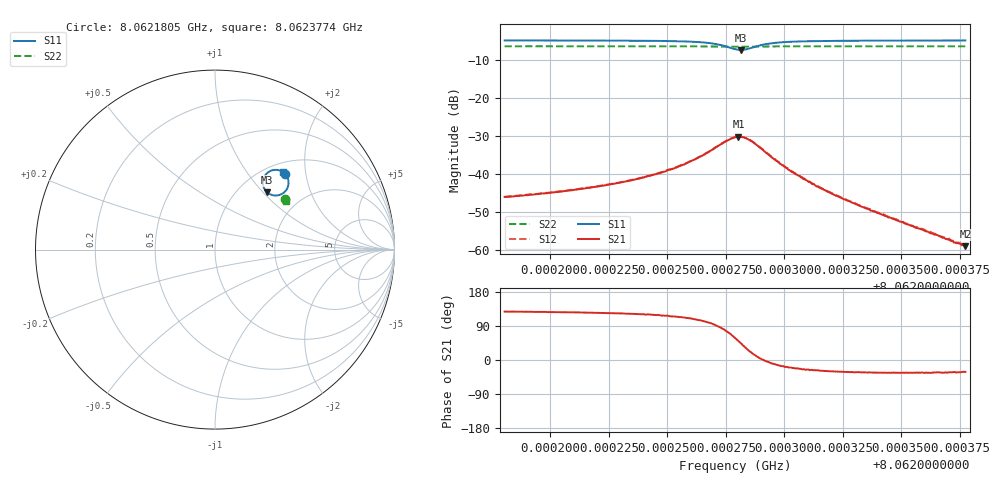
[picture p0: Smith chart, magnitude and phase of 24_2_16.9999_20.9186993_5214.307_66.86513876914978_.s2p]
#  HZ  S  RI  R  50.00
! Rohde & Schwarz Vector Network Analyzer
! Rohde-Schwarz,ZNB20-2Port,1311601062101988,3.16
! Created: UTC 3/20/2024, 10:53:07 PM
! freq[Hz]  re:S11  im:S11  re:S21  im:S21  re:S12  im:S12  re:S22  im:S22
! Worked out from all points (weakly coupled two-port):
!   401 points, 8.0621805 GHz to 8.0623774 GHz, reference 50 ohm
!   highest |S21| = -30.13 dB at 8.0622804 GHz (marker M1); lowest = -58.9 dB at 8.0623774 GHz (marker M2)
!   lowest |S11| = -7.3 dB at 8.0622814 GHz (marker M3), VSWR 2.52, Z = 67.2 + j52.7 ohm
!   |S11| at or under -10 dB: nowhere
!   |S22| runs from -6.5 to -6.3 dB; largest |S21 - S12| = 0.0019
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8.06218049e9  0.3901 0.4226  -0.00308 0.00397  -0.00288 0.00418  0.392 0.2808
8.06219919e9  0.3931 0.4191  -0.00337 0.00457  -0.00313 0.00478  0.393 0.2797
8.06221347e9  0.3959 0.4155  -0.0037 0.00525  -0.00346 0.00554  0.3934 0.2788
8.06223168e9  0.4006 0.4082  -0.00431 0.0067  -0.0039 0.00704  0.394 0.2776
8.06224645e9  0.4057 0.3969  -0.00495 0.00916  -0.0044 0.00948  0.3945 0.2763
8.06225334e9  0.4082 0.3878  -0.00507 0.011  -0.00445 0.0115  0.3947 0.2758
8.06225777e9  0.4095 0.3794  -0.00503 0.0129  -0.00426 0.0131  0.3948 0.275
8.0622686e9  0.4029 0.3422  -0.00256 0.0203  -0.00111 0.0206  0.3943 0.273
8.06227401e9  0.3773 0.3129  0.00391 0.0258  0.00553 0.0256  0.3931 0.272
8.06227893e9  0.3219 0.3031  0.0161 0.026  0.0176 0.0253  0.3907 0.2722
8.06228041e9  0.3023 0.3107  0.0201 0.0238  0.0214 0.0228  0.39 0.2729
8.06228139e9  0.2905 0.3193  0.0222 0.0216  0.0235 0.0206  0.3897 0.2732
8.06228336e9  0.2735 0.3418  0.025 0.0163  0.0262 0.015  0.3894 0.2742
8.06228582e9  0.2665 0.3735  0.0257 0.00932  0.0265 0.00791  0.3896 0.2755
8.06228927e9  0.2758 0.408  0.0227 0.00214  0.0231 0.00106  0.3907 0.2767
8.06229272e9  0.2924 0.428  0.0187 -0.00145  0.0187 -0.0025  0.3918 0.2772
8.06230207e9  0.3278 0.4437  0.0107 -0.00383  0.0106 -0.00453  0.3938 0.2769
8.06231191e9  0.3473 0.444  0.00667 -0.00324  0.00655 -0.00382  0.3948 0.276
8.06232569e9  0.3611 0.4407  0.00399 -0.00243  0.00393 -0.00269  0.3957 0.2752
8.06234489e9  0.3709 0.4366  0.00226 -0.00149  0.00217 -0.00165  0.3968 0.2738
8.06237344e9  0.3785 0.4322  0.00104 -0.000682  0.00106 -0.000744  0.3978 0.2724
8.06237738e9  0.3792 0.4319  0.000967 -0.000592  0.000921 -0.000658  0.3981 0.272
